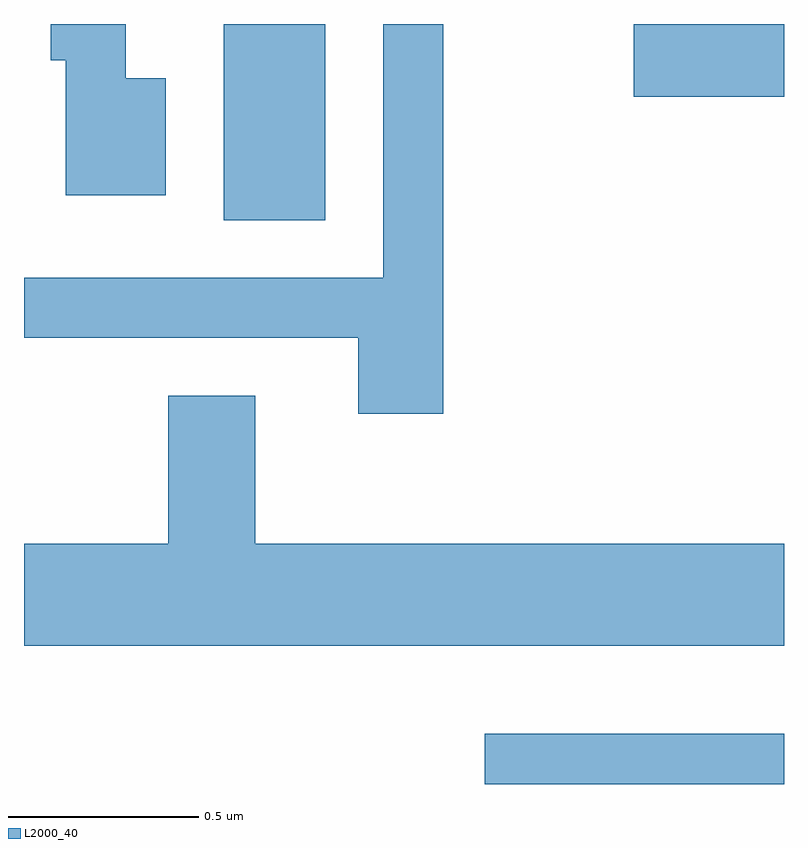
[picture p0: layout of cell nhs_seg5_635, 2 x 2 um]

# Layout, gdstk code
import gdstk
lib = gdstk.Library(unit=1e-6, precision=1e-09)
def R(c, l, rs):  # rectangles x0, y0, x1, y1
    for r in rs: c.add(gdstk.rectangle(r[:2], r[2:], *l))
def P(c, l, *ps):  # polygons
    for p in ps: c.add(gdstk.Polygon(p, *l))
L2000_40 = (2000, 40)

nhs_seg5_635 = lib.new_cell('nhs_seg5_635')
R(nhs_seg5_635, L2000_40, [(190.823,1483.072,191.611,1483.204), (190.136,1484.556,190.404,1485.072), (191.216,1484.881,191.611,1485.072)])
P(nhs_seg5_635, L2000_40, [(189.984,1484.929),(189.879,1484.929),(189.879,1485.072),(189.681,1485.072),(189.681,1484.976),(189.721,1484.976),(189.721,1484.621),(189.984,1484.621)],
  [(190.714,1485.072),(190.556,1485.072),(190.556,1484.404),(189.611,1484.404),(189.611,1484.246),(190.491,1484.246),(190.491,1484.046),(190.714,1484.046)],
  [(191.611,1483.704),(190.219,1483.704),(190.219,1484.094),(189.991,1484.094),(189.991,1483.704),(189.611,1483.704),(189.611,1483.436),(191.611,1483.436)])

lib.write_gds('nhs_seg5_635.gds')
